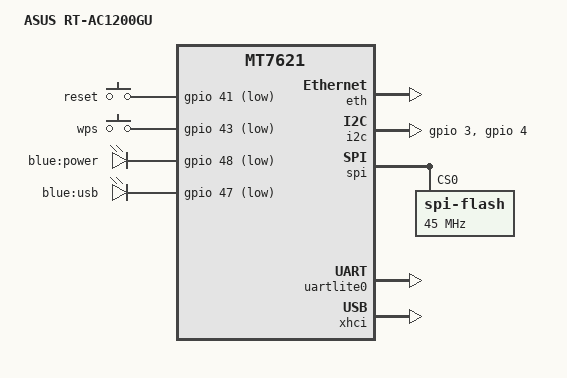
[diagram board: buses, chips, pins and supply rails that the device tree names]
// SPDX-License-Identifier: GPL-2.0+

/dts-v1/;
#include "mt7621.dtsi"

#include <dt-bindings/gpio/gpio.h>
#include <dt-bindings/input/input.h>

/ {
	model = "ASUS RT-AC1200GU";
	compatible = "asus,rt-ac1200gu", "mediatek,mt7621-soc";

	aliases {
		spi0 = &spi;
	};

	chosen {
		stdout-path = &uartlite0;
	};

	config {
		reset-button = "reset";
		wps-button = "wps";
		status1-led = "blue:power";
	};

	keys {
		compatible = "gpio-keys";

		reset {
			label = "reset";
			gpios = <&gpio 41 GPIO_ACTIVE_LOW>;
			linux,code = <KEY_RESTART>;
		};

		wps {
			label = "wps";
			gpios = <&gpio 43 GPIO_ACTIVE_LOW>;
			linux,code = <KEY_WPS_BUTTON>;
		};
	};

	leds {
		compatible = "gpio-leds";

		led-power {
			label = "blue:power";
			gpios = <&gpio 48 GPIO_ACTIVE_LOW>;
			default-state = "on";
		};

		led-usb {
			label = "blue:usb";
			gpios = <&gpio 47 GPIO_ACTIVE_LOW>;
			default-state = "off";
		};
	};
};

&eth {
	status = "okay";
};

&gpio {
	status = "okay";
};

&i2c {
	gpios = <&gpio 3 1>, /* PIN3 as SDA */
		<&gpio 4 1>; /* PIN4 as CLK */
};

&spi {
	status = "okay";

	spi-max-frequency = <45000000>;

	spi-flash@0 {
		#address-cells = <1>;
		#size-cells = <1>;
		compatible = "spi-flash";
		spi-max-frequency = <45000000>;
		reg = <0>;
	};
};

&state_default {
	/delete-node/ rgmii2-gpio_pins;
	/delete-node/ spi-nand_pins;
	/delete-node/ sdhci-nand_pins;
};

&uartlite0 {
	status = "okay";
};

&xhci {
	status = "okay";
};
